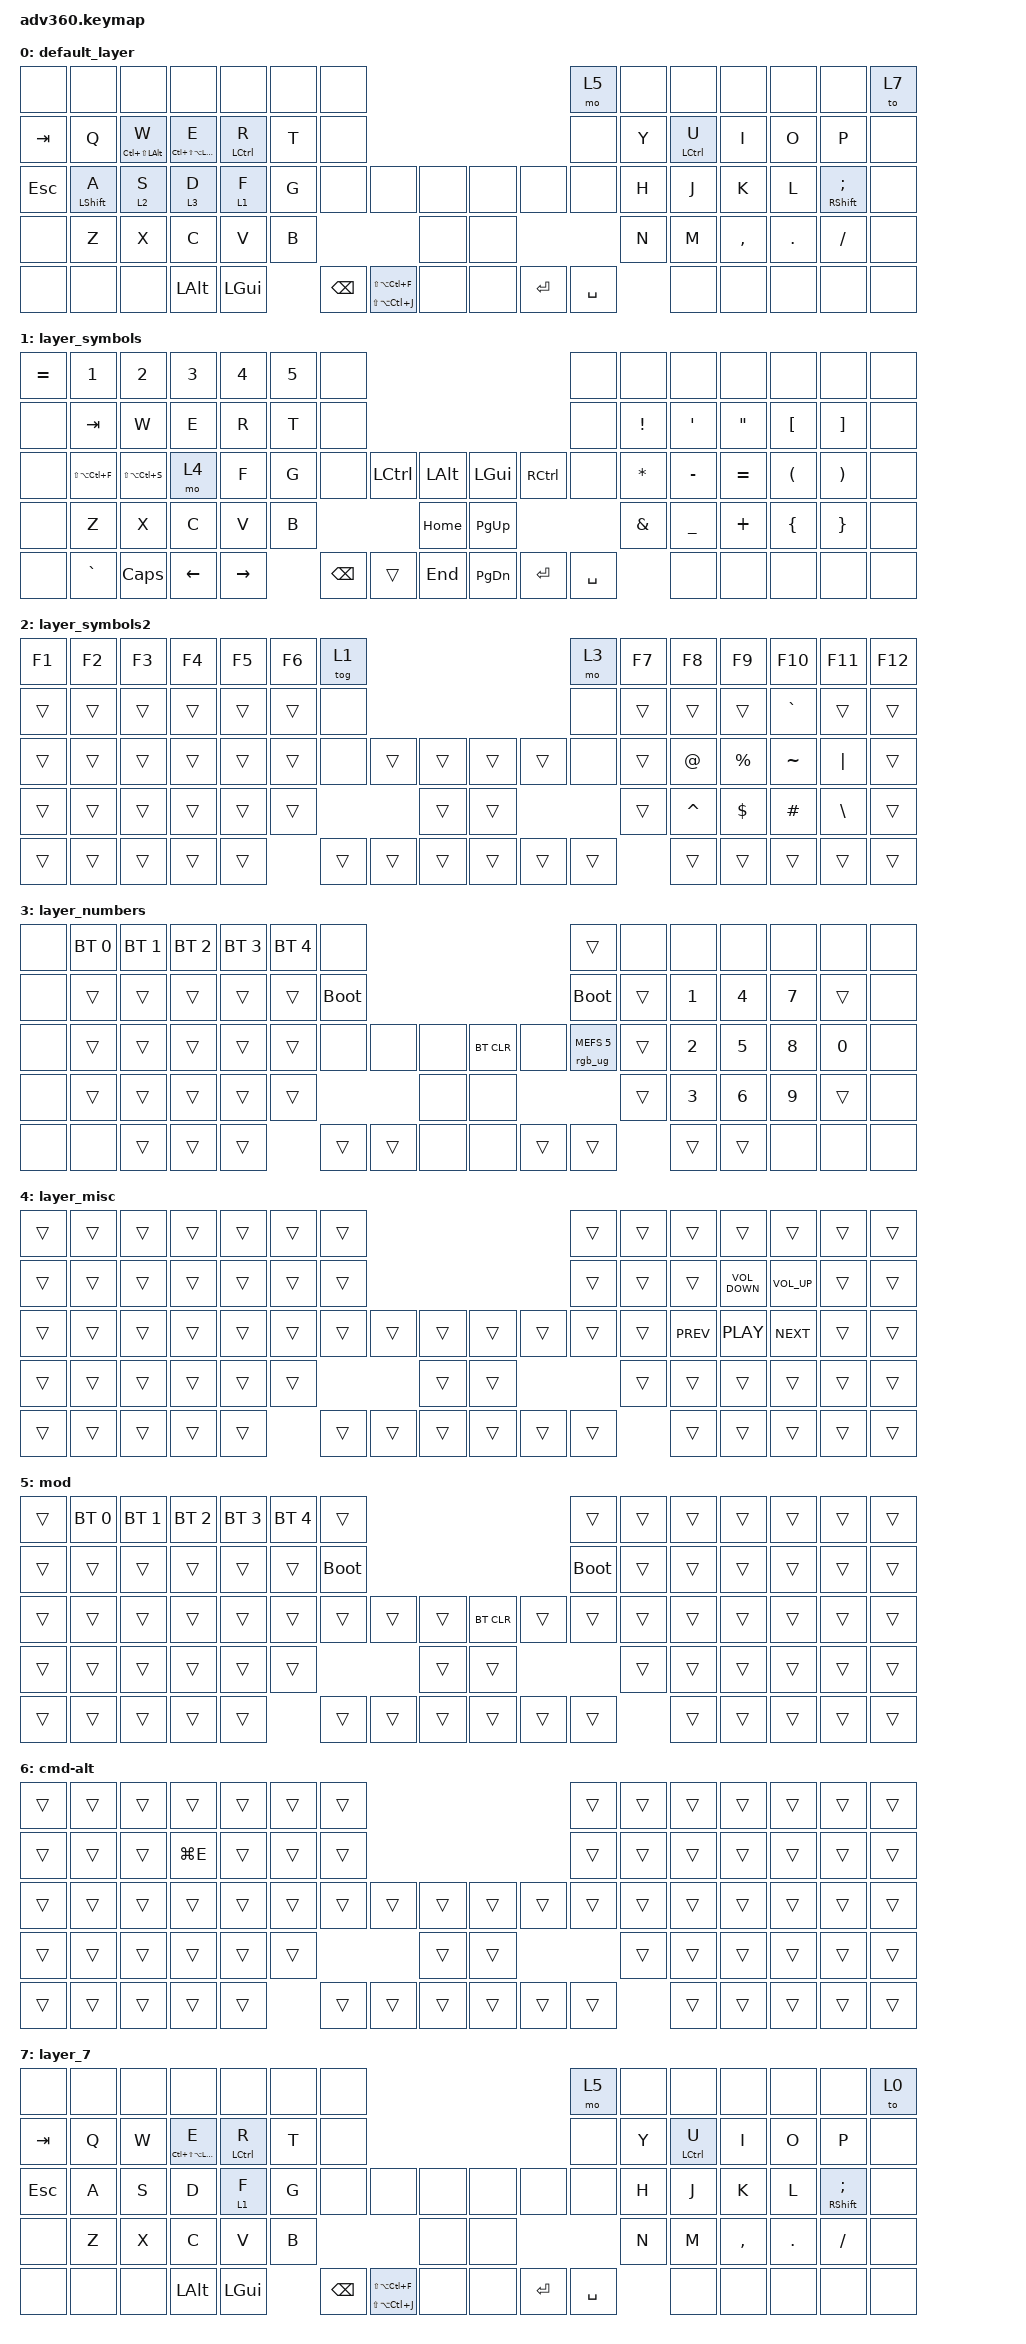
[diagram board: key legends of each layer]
/*
 * Copyright (c) 2020 The ZMK Contributors
 *
 * SPDX-License-Identifier: MIT
 */
/* THIS FILE WAS GENERATED!
 *
 * This file was generated automatically. You may or may not want to
 * edit it directly.
 */

#include <behaviors.dtsi>
#include <dt-bindings/zmk/bt.h>
#include <dt-bindings/zmk/keys.h>
#include <dt-bindings/zmk/rgb.h>

&mt {
    tapping-term-ms = <190>;
    flavor = "tap-preferred";
};

/ {
    behaviors {
        #include "macros.dtsi"
      #include "version.dtsi"
      #ifndef VERSION_MACRO

        macro_ver: macro_ver {
            compatible = "zmk,behavior-macro";
            label = "macro_version";
            #binding-cells = <0>;
            bindings = <&kp RET>;
        };

        #endif

        hm: homerow_mods {
            compatible = "zmk,behavior-hold-tap";
            label = "HOMEROW_MODS";
            #binding-cells = <2>;
            tapping-term-ms = <200>;
            quick_tap_ms = <175>;
            flavor = "tap-preferred";
            bindings = <&kp>, <&kp>;
        };
    };

    macros {
    };

    keymap {
        compatible = "zmk,keymap";

        default_layer {
            bindings = <
&none    &none             &none               &none                   &none               &none  &none                                                                        &mo 5      &none  &none        &none      &none    &none                      &to 7
&kp TAB  &kp Q             &mt LC(LS(LALT)) W  &mt LC(LS(LA(LGUI))) E  &mt LEFT_CONTROL R  &kp T  &none                                                                        &none      &kp Y  &mt LCTRL U  &kp I      &kp O    &kp P                      &none
&kp ESC  &mt LEFT_SHIFT A  &lt 2 S             &lt 3 D                 &lt 1 F             &kp G  &none          &none                            &none      &none  &none      &none      &kp H  &kp J        &kp K      &kp L    &mt RIGHT_SHIFT SEMICOLON  &none
&none    &kp Z             &kp X               &kp C                   &kp V               &kp B                                                  &none      &none                        &kp N  &kp M        &kp COMMA  &kp DOT  &kp FSLH                   &none
&none    &none             &none               &kp LEFT_ALT            &kp LEFT_GUI               &kp BACKSPACE  &mt LS(LA(LC(J))) LS(LA(LC(F)))  &none      &none  &kp ENTER  &kp SPACE         &none        &none      &none    &none                      &none
            >;
        };

        layer_symbols {
            bindings = <
&kp EQUAL  &kp N1             &kp N2             &kp N3    &kp N4     &kp N5  &none                                                    &none      &none            &none             &none              &none                 &none                  &none
&none      &kp TAB            &kp W              &kp E     &kp R      &kp T   &none                                                    &none      &kp EXCLAMATION  &kp SINGLE_QUOTE  &kp DOUBLE_QUOTES  &kp LEFT_BRACKET      &kp RIGHT_BRACKET      &none
&none      &kp LS(LA(LC(F)))  &kp LS(LA(LC(S)))  &mo 4     &kp F      &kp G   &none     &kp LCTRL  &kp LALT      &kp LGUI   &kp RCTRL  &none      &kp ASTERISK     &kp MINUS         &kp EQUAL          &kp LEFT_PARENTHESIS  &kp RIGHT_PARENTHESIS  &none
&none      &kp Z              &kp X              &kp C     &kp V      &kp B                        &kp HOME      &kp PG_UP                        &kp AMPERSAND    &kp UNDERSCORE    &kp PLUS           &kp LEFT_BRACE        &kp RIGHT_BRACE        &none
&none      &kp GRAVE          &kp CAPS           &kp LEFT  &kp RIGHT          &kp BSPC  &trans     &kp END       &kp PG_DN  &kp ENTER  &kp SPACE                   &none             &none              &none                 &none                  &none
            >;
        };

        layer_symbols2 {
            bindings = <
&kp F1  &kp F2  &kp F3  &kp F4  &kp F5  &kp F6  &tog 1                                      &mo 3   &kp F7  &kp F8       &kp F9       &kp F10    &kp F11        &kp F12
&trans  &trans  &trans  &trans  &trans  &trans  &none                                       &none   &trans  &trans       &trans       &kp GRAVE  &trans         &trans
&trans  &trans  &trans  &trans  &trans  &trans  &none   &trans  &trans      &trans  &trans  &none   &trans  &kp AT_SIGN  &kp PERCENT  &kp TILDE  &kp PIPE       &trans
&trans  &trans  &trans  &trans  &trans  &trans                  &trans      &trans                  &trans  &kp CARET    &kp DOLLAR   &kp HASH   &kp BACKSLASH  &trans
&trans  &trans  &trans  &trans  &trans          &trans  &trans  &trans      &trans  &trans  &trans          &trans       &trans       &trans     &trans         &trans
            >;
        };

        layer_numbers {
            bindings = <
&none  &bt BT_SEL 0  &bt BT_SEL 1  &bt BT_SEL 2  &bt BT_SEL 3  &bt BT_SEL 4  &none                                               &trans                  &none   &none         &none         &none         &none         &none
&none  &trans        &trans        &trans        &trans        &trans        &bootloader                                         &bootloader             &trans  &kp NUMBER_1  &kp NUMBER_4  &kp NUMBER_7  &trans        &none
&none  &trans        &trans        &trans        &trans        &trans        &none        &none   &none      &bt BT_CLR  &none   &rgb_ug RGB_MEFS_CMD 5  &trans  &kp NUMBER_2  &kp NUMBER_5  &kp NUMBER_8  &kp NUMBER_0  &none
&none  &trans        &trans        &trans        &trans        &trans                             &none      &none                                       &trans  &kp NUMBER_3  &kp NUMBER_6  &kp NUMBER_9  &trans        &none
&none  &none         &trans        &trans        &trans                      &trans       &trans  &none      &none       &trans  &trans                          &trans        &trans        &none         &none         &none
            >;
        };

        layer_misc {
            bindings = <
&trans  &trans  &trans  &trans  &trans  &trans  &trans                                      &trans  &trans  &trans      &trans             &trans           &trans  &trans
&trans  &trans  &trans  &trans  &trans  &trans  &trans                                      &trans  &trans  &trans      &kp C_VOLUME_DOWN  &kp C_VOLUME_UP  &trans  &trans
&trans  &trans  &trans  &trans  &trans  &trans  &trans  &trans  &trans      &trans  &trans  &trans  &trans  &kp C_PREV  &kp C_PLAY         &kp C_NEXT       &trans  &trans
&trans  &trans  &trans  &trans  &trans  &trans                  &trans      &trans                  &trans  &trans      &trans             &trans           &trans  &trans
&trans  &trans  &trans  &trans  &trans          &trans  &trans  &trans      &trans  &trans  &trans          &trans      &trans             &trans           &trans  &trans
            >;
        };

        mod {
            bindings = <
&trans  &bt BT_SEL 0  &bt BT_SEL 1  &bt BT_SEL 2  &bt BT_SEL 3  &bt BT_SEL 4  &trans                                               &trans       &trans  &trans  &trans  &trans  &trans  &trans
&trans  &trans        &trans        &trans        &trans        &trans        &bootloader                                          &bootloader  &trans  &trans  &trans  &trans  &trans  &trans
&trans  &trans        &trans        &trans        &trans        &trans        &trans       &trans  &trans      &bt BT_CLR  &trans  &trans       &trans  &trans  &trans  &trans  &trans  &trans
&trans  &trans        &trans        &trans        &trans        &trans                             &trans      &trans                           &trans  &trans  &trans  &trans  &trans  &trans
&trans  &trans        &trans        &trans        &trans                      &trans       &trans  &trans      &trans      &trans  &trans               &trans  &trans  &trans  &trans  &trans
            >;
        };

        cmd-alt {
            bindings = <
&trans  &trans  &trans  &trans     &trans  &trans  &trans                                      &trans  &trans  &trans  &trans  &trans  &trans  &trans
&trans  &trans  &trans  &kp LG(E)  &trans  &trans  &trans                                      &trans  &trans  &trans  &trans  &trans  &trans  &trans
&trans  &trans  &trans  &trans     &trans  &trans  &trans  &trans  &trans      &trans  &trans  &trans  &trans  &trans  &trans  &trans  &trans  &trans
&trans  &trans  &trans  &trans     &trans  &trans                  &trans      &trans                  &trans  &trans  &trans  &trans  &trans  &trans
&trans  &trans  &trans  &trans     &trans          &trans  &trans  &trans      &trans  &trans  &trans          &trans  &trans  &trans  &trans  &trans
            >;
        };

        layer_7 {
            bindings = <
&none    &none  &none  &none                   &none               &none  &none                                                                        &mo 5      &none  &none        &none      &none    &none                      &to 0
&kp TAB  &kp Q  &kp W  &mt LC(LS(LA(LGUI))) E  &mt LEFT_CONTROL R  &kp T  &none                                                                        &none      &kp Y  &mt LCTRL U  &kp I      &kp O    &kp P                      &none
&kp ESC  &kp A  &kp S  &kp D                   &lt 1 F             &kp G  &none          &none                            &none      &none  &none      &none      &kp H  &kp J        &kp K      &kp L    &mt RIGHT_SHIFT SEMICOLON  &none
&none    &kp Z  &kp X  &kp C                   &kp V               &kp B                                                  &none      &none                        &kp N  &kp M        &kp COMMA  &kp DOT  &kp FSLH                   &none
&none    &none  &none  &kp LEFT_ALT            &kp LEFT_GUI               &kp BACKSPACE  &mt LS(LA(LC(J))) LS(LA(LC(F)))  &none      &none  &kp ENTER  &kp SPACE         &none        &none      &none    &none                      &none
            >;
        };
    };
};
